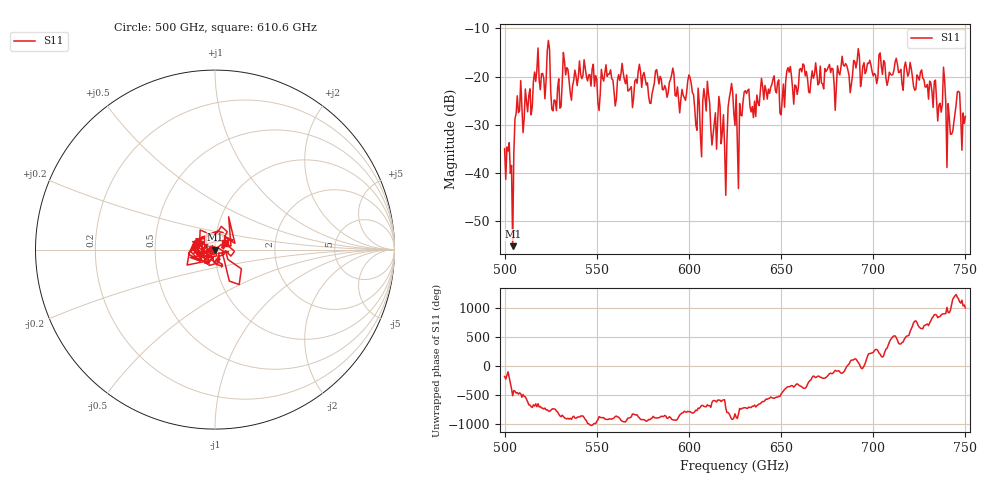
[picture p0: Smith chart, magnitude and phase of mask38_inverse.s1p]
!Created with skrf (http://scikit-rf.org).
# GHz S MA R 50.0
!freq magS11 angS11
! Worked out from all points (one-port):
!   401 points, 500 GHz to 750 GHz, reference 50 ohm
!   lowest |S11| = -55.2 dB at 504.4 GHz (marker M1), VSWR 1.00, Z = 49.8 - j0.078 ohm
!   |S11| at or under -10 dB: start of sweep to end of sweep
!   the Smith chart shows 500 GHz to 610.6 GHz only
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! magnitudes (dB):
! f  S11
! 500 GHz  -35.0
! 504.4 GHz  -55.2
! 507.5 GHz  -27.5
! 513.8 GHz  -22.6
! 516.9 GHz  -21.0
! 523.8 GHz  -12.5
! 526.9 GHz  -24.9
! 531.2 GHz  -21.3
! 562.5 GHz  -20.8
! 593.8 GHz  -22.2
! 600.6 GHz  -20.2
! 605.6 GHz  -25.6
! 609.4 GHz  -27.2
! 613.8 GHz  -30.0
! 617.5 GHz  -34.0
! 618.8 GHz  -27.9
! 622.5 GHz  -23.2
! 625 GHz  -30.2
! 627.5 GHz  -25.6
! 631.2 GHz  -23.5
! 635 GHz  -28.5
! 656.2 GHz  -22.5
! 687.5 GHz  -23.4
! 718.8 GHz  -19.9
! 738.1 GHz  -18.1
! 741.2 GHz  -28.5
! 745.6 GHz  -23.2
! 750 GHz  -28.3
